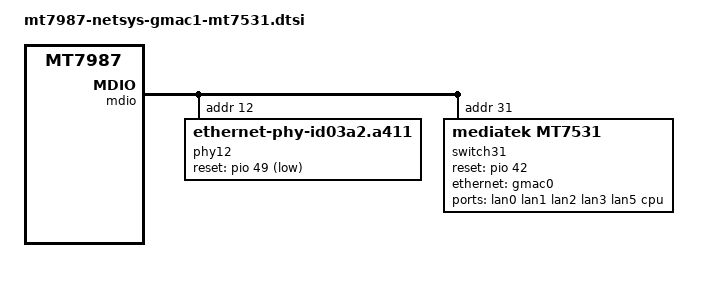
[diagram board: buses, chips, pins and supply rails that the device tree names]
// SPDX-License-Identifier: (GPL-2.0 OR MIT)

&mdio {
	phy12: phy@12 {
		compatible = "ethernet-phy-id03a2.a411";
		reg = <12>;
		reset-gpios = <&pio 49 1>;
		reset-assert-us = <10000>;
		reset-deassert-us = <10000>;
		phy-mode = "2500base-x";
		full-duplex;
		pause;
		airoha,polarity = <3>;
		airoha,surge = <0>;
		airoha,phy-handle;
	};

	/delete-node/ switch@1;
	switch31: switch@31 {
		compatible = "mediatek,mt7531";
		reg = <31>;
		reset-gpios = <&pio 42 0>;
	};

};

&switch31 {
	ports {
		#address-cells = <1>;
		#size-cells = <0>;

		port@0 {
			reg = <0>;
			label = "lan0";
		};

		port@1 {
			reg = <1>;
			label = "lan1";
		};

		port@2 {
			reg = <2>;
			label = "lan2";
		};

		port@3 {
			reg = <3>;
			label = "lan3";
		};

		port@5 {
			reg = <5>;
			label = "lan5";
			phy-mode = "2500base-x";
			phy-handle = <&phy12>;
		};

		port@6 {
			reg = <6>;
			label = "cpu";
			ethernet = <&gmac0>;
			phy-mode = "2500base-x";

			fixed-link {
				speed = <2500>;
				full-duplex;
				pause;
			};
		};
	};
};
